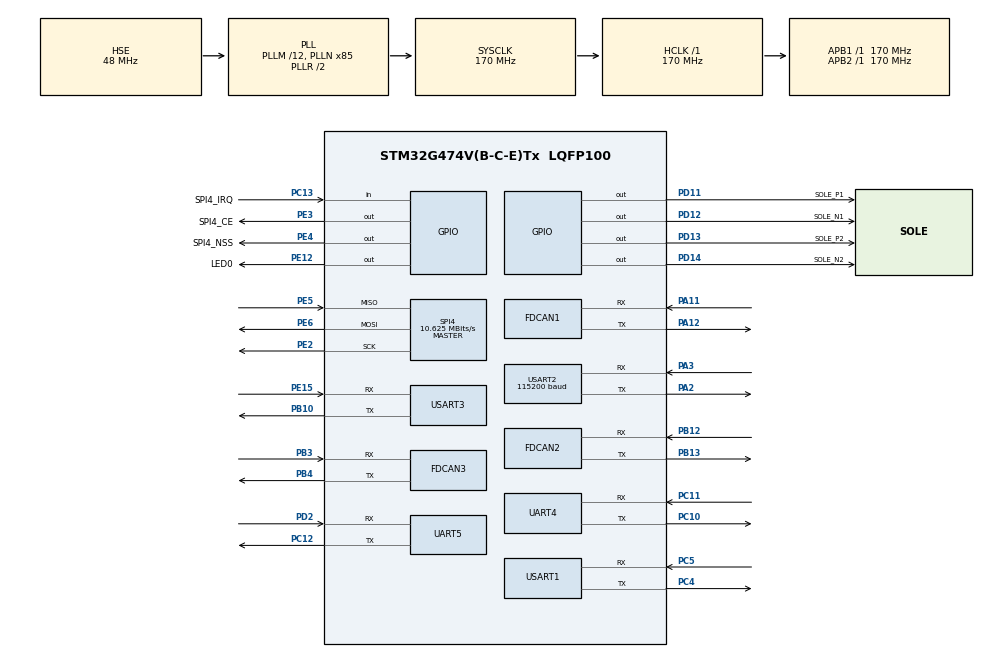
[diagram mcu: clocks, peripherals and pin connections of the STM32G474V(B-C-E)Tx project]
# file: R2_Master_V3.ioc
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Dma.Request0=USART1_RX
Dma.Request1=USART2_RX
Dma.Request2=USART3_RX
Dma.Request3=UART4_RX
Dma.Request4=UART5_RX
Dma.UART4_RX.3.Direction=DMA_PERIPH_TO_MEMORY
Dma.UART4_RX.3.EventEnable=DISABLE
Dma.UART4_RX.3.Instance=DMA1_Channel4
Dma.UART4_RX.3.MemDataAlignment=DMA_MDATAALIGN_BYTE
Dma.UART4_RX.3.MemInc=DMA_MINC_ENABLE
Dma.UART4_RX.3.Mode=DMA_NORMAL
Dma.UART4_RX.3.PeriphDataAlignment=DMA_PDATAALIGN_BYTE
Dma.UART4_RX.3.PeriphInc=DMA_PINC_DISABLE
Dma.UART4_RX.3.Polarity=HAL_DMAMUX_REQ_GEN_RISING
Dma.UART4_RX.3.Priority=DMA_PRIORITY_LOW
Dma.UART4_RX.3.RequestNumber=1
Dma.UART4_RX.3.SignalID=NONE
Dma.UART4_RX.3.SyncEnable=DISABLE
Dma.UART4_RX.3.SyncPolarity=HAL_DMAMUX_SYNC_NO_EVENT
Dma.UART4_RX.3.SyncRequestNumber=1
Dma.UART4_RX.3.SyncSignalID=NONE
Dma.UART5_RX.4.Direction=DMA_PERIPH_TO_MEMORY
Dma.UART5_RX.4.EventEnable=DISABLE
Dma.UART5_RX.4.Instance=DMA1_Channel5
Dma.UART5_RX.4.MemDataAlignment=DMA_MDATAALIGN_BYTE
Dma.UART5_RX.4.MemInc=DMA_MINC_ENABLE
Dma.UART5_RX.4.Mode=DMA_NORMAL
Dma.UART5_RX.4.PeriphDataAlignment=DMA_PDATAALIGN_BYTE
Dma.UART5_RX.4.PeriphInc=DMA_PINC_DISABLE
Dma.UART5_RX.4.Polarity=HAL_DMAMUX_REQ_GEN_RISING
Dma.UART5_RX.4.Priority=DMA_PRIORITY_LOW
Dma.UART5_RX.4.RequestNumber=1
Dma.UART5_RX.4.SignalID=NONE
Dma.UART5_RX.4.SyncEnable=DISABLE
Dma.UART5_RX.4.SyncPolarity=HAL_DMAMUX_SYNC_NO_EVENT
Dma.UART5_RX.4.SyncRequestNumber=1
Dma.UART5_RX.4.SyncSignalID=NONE
Dma.USART1_RX.0.Direction=DMA_PERIPH_TO_MEMORY
Dma.USART1_RX.0.EventEnable=DISABLE
Dma.USART1_RX.0.Instance=DMA1_Channel1
Dma.USART1_RX.0.MemDataAlignment=DMA_MDATAALIGN_BYTE
Dma.USART1_RX.0.MemInc=DMA_MINC_ENABLE
Dma.USART1_RX.0.Mode=DMA_NORMAL
Dma.USART1_RX.0.PeriphDataAlignment=DMA_PDATAALIGN_BYTE
Dma.USART1_RX.0.PeriphInc=DMA_PINC_DISABLE
Dma.USART1_RX.0.Polarity=HAL_DMAMUX_REQ_GEN_RISING
Dma.USART1_RX.0.Priority=DMA_PRIORITY_LOW
Dma.USART1_RX.0.RequestNumber=1
Dma.USART1_RX.0.SignalID=NONE
Dma.USART1_RX.0.SyncEnable=DISABLE
Dma.USART1_RX.0.SyncPolarity=HAL_DMAMUX_SYNC_NO_EVENT
Dma.USART1_RX.0.SyncRequestNumber=1
Dma.USART1_RX.0.SyncSignalID=NONE
Dma.USART2_RX.1.Direction=DMA_PERIPH_TO_MEMORY
Dma.USART2_RX.1.EventEnable=DISABLE
Dma.USART2_RX.1.Instance=DMA1_Channel2
Dma.USART2_RX.1.MemDataAlignment=DMA_MDATAALIGN_BYTE
Dma.USART2_RX.1.MemInc=DMA_MINC_ENABLE
Dma.USART2_RX.1.Mode=DMA_NORMAL
Dma.USART2_RX.1.PeriphDataAlignment=DMA_PDATAALIGN_BYTE
Dma.USART2_RX.1.PeriphInc=DMA_PINC_DISABLE
Dma.USART2_RX.1.Polarity=HAL_DMAMUX_REQ_GEN_RISING
Dma.USART2_RX.1.Priority=DMA_PRIORITY_LOW
Dma.USART2_RX.1.RequestNumber=1
Dma.USART2_RX.1.SignalID=NONE
Dma.USART2_RX.1.SyncEnable=DISABLE
Dma.USART2_RX.1.SyncPolarity=HAL_DMAMUX_SYNC_NO_EVENT
Dma.USART2_RX.1.SyncRequestNumber=1
Dma.USART2_RX.1.SyncSignalID=NONE
Dma.USART3_RX.2.Direction=DMA_PERIPH_TO_MEMORY
Dma.USART3_RX.2.EventEnable=DISABLE
Dma.USART3_RX.2.Instance=DMA1_Channel3
Dma.USART3_RX.2.MemDataAlignment=DMA_MDATAALIGN_BYTE
Dma.USART3_RX.2.MemInc=DMA_MINC_ENABLE
Dma.USART3_RX.2.Mode=DMA_NORMAL
Dma.USART3_RX.2.PeriphDataAlignment=DMA_PDATAALIGN_BYTE
Dma.USART3_RX.2.PeriphInc=DMA_PINC_DISABLE
Dma.USART3_RX.2.Polarity=HAL_DMAMUX_REQ_GEN_RISING
Dma.USART3_RX.2.Priority=DMA_PRIORITY_LOW
Dma.USART3_RX.2.RequestNumber=1
Dma.USART3_RX.2.SignalID=NONE
Dma.USART3_RX.2.SyncEnable=DISABLE
Dma.USART3_RX.2.SyncPolarity=HAL_DMAMUX_SYNC_NO_EVENT
Dma.USART3_RX.2.SyncRequestNumber=1
Dma.USART3_RX.2.SyncSignalID=NONE
FDCAN1.CalculateBaudRateNominal=1000000
FDCAN1.CalculateTimeBitNominal=1000
FDCAN1.CalculateTimeQuantumNominal=100.0
FDCAN1.NominalPrescaler=17
FDCAN1.NominalTimeSeg1=6
FDCAN1.NominalTimeSeg2=3
FDCAN2.CalculateBaudRateNominal=1000000
FDCAN2.CalculateTimeBitNominal=1000
FDCAN2.CalculateTimeQuantumNominal=100.0
FDCAN2.NominalPrescaler=17
FDCAN2.NominalTimeSeg1=6
FDCAN2.NominalTimeSeg2=3
FDCAN3.CalculateBaudRateNominal=1000000
FDCAN3.CalculateTimeBitNominal=1000
FDCAN3.CalculateTimeQuantumNominal=100.0
FDCAN3.NominalPrescaler=17
FDCAN3.NominalTimeSeg1=6
FDCAN3.NominalTimeSeg2=3
FREERTOS.Queues01=NRF_RX_Queue,1,RemoteRXSturct,0,Dynamic,NULL,NULL;SuctionSpeed_Queue,1,int16_t,0,Dynamic,NULL,NULL;VisionData_Queue,1,VisionStruct,0,Dynamic,NULL,NULL
FREERTOS.Tasks01=Debug_Task,0,1024,DebugTask,Default,NULL,Dynamic,NULL,NULL;RoboRun_Task,0,1024,RoboRunTask,Default,NULL,Dynamic,NULL,NULL;NRF_Task,0,256,NRFTask,Default,NULL,Dynamic,NULL,NULL;Control_Task,0,1024,ControlTask,Default,NULL,Dynamic,NULL,NULL;HandleBall_Task,0,1024,HandleBallTask,Default,NULL,Dynamic,NULL,NULL;Suction_Task,0,512,SuctionTask,Default,NULL,Dynamic,NULL,NULL;Run1to3_Task,0,1024,Run1to3Task,Default,NULL,Dynamic,NULL,NULL;Vision_Task,0,1024,VisionTask,Default,NULL,Dynamic,NULL,NULL;VisionRun_Task,0,2048,VisionRunTask,Default,NULL,Dynamic,NULL,NULL;Start_Task,0,1024,StartTask,Default,NULL,Dynamic,NULL,NULL
FREERTOS.configTOTAL_HEAP_SIZE=65536
Mcu.Family=STM32G4
Mcu.Name=STM32G474V(B-C-E)Tx
Mcu.Package=LQFP100
NVIC.DMA1_Channel1_IRQn=true\:5\:0\:false\:false\:true\:true\:false\:true\:true
NVIC.DMA1_Channel2_IRQn=true\:5\:0\:false\:false\:true\:true\:false\:true\:true
NVIC.DMA1_Channel3_IRQn=true\:5\:0\:false\:false\:true\:true\:false\:true\:true
NVIC.DMA1_Channel4_IRQn=true\:5\:0\:false\:false\:true\:true\:false\:true\:true
NVIC.DMA1_Channel5_IRQn=true\:5\:0\:false\:false\:true\:true\:false\:true\:true
NVIC.FDCAN1_IT0_IRQn=true\:5\:0\:false\:false\:true\:true\:true\:true\:true
NVIC.FDCAN2_IT0_IRQn=true\:5\:0\:false\:false\:true\:true\:true\:true\:true
NVIC.FDCAN3_IT0_IRQn=true\:5\:0\:false\:false\:true\:true\:true\:true\:true
NVIC.PriorityGroup=NVIC_PRIORITYGROUP_4
NVIC.SPI4_IRQn=true\:5\:0\:false\:false\:true\:true\:true\:true\:true
NVIC.TIM2_IRQn=true\:5\:0\:false\:false\:true\:true\:true\:true\:true
NVIC.TIM7_DAC_IRQn=true\:15\:0\:false\:false\:true\:false\:false\:true\:true
NVIC.TimeBase=TIM7_DAC_IRQn
NVIC.TimeBaseIP=TIM7
NVIC.UART4_IRQn=true\:5\:0\:false\:false\:true\:true\:true\:true\:true
NVIC.UART5_IRQn=true\:5\:0\:false\:false\:true\:true\:true\:true\:true
NVIC.USART1_IRQn=true\:5\:0\:false\:false\:true\:true\:true\:true\:true
NVIC.USART2_IRQn=true\:5\:0\:false\:false\:true\:true\:true\:true\:true
NVIC.USART3_IRQn=true\:5\:0\:false\:false\:true\:true\:true\:true\:true
PA11.Mode=FDCAN_Activate
PA11.Signal=FDCAN1_RX
PA12.Mode=FDCAN_Activate
PA12.Signal=FDCAN1_TX
PA13.Mode=Serial_Wire
PA13.Signal=SYS_JTMS-SWDIO
PA14.Mode=Serial_Wire
PA14.Signal=SYS_JTCK-SWCLK
PA2.Mode=Asynchronous
PA2.Signal=USART2_TX
PA3.Mode=Asynchronous
PA3.Signal=USART2_RX
PA8.Signal=I2C2_SDA
PA9.Signal=I2C2_SCL
PB10.Mode=Asynchronous
PB10.Signal=USART3_TX
PB12.Mode=FDCAN_Activate
PB12.Signal=FDCAN2_RX
PB13.Mode=FDCAN_Activate
PB13.Signal=FDCAN2_TX
PB3.Mode=FDCAN_Activate
PB3.Signal=FDCAN3_RX
PB4.Mode=FDCAN_Activate
PB4.Signal=FDCAN3_TX
PC10.Mode=Asynchronous
PC10.Signal=UART4_TX
PC11.Mode=Asynchronous
PC11.Signal=UART4_RX
PC12.Mode=Asynchronous
PC12.Signal=UART5_TX
PC13.GPIO_Label=SPI4_IRQ
PC13.Signal=GPIO_Input
PC4.Mode=Asynchronous
PC4.Signal=USART1_TX
PC5.Mode=Asynchronous
PC5.Signal=USART1_RX
PD11.GPIO_Label=SOLE_P1
PD11.GPIO_PuPd=GPIO_PULLDOWN
PD11.GPIO_Speed=GPIO_SPEED_FREQ_LOW
PD11.PinState=GPIO_PIN_RESET
PD11.Signal=GPIO_Output
PD12.GPIO_Label=SOLE_N1
PD12.GPIO_ModeDefaultOutputPP=GPIO_MODE_OUTPUT_PP
PD12.GPIO_PuPd=GPIO_PULLDOWN
PD12.GPIO_Speed=GPIO_SPEED_FREQ_LOW
PD12.PinState=GPIO_PIN_RESET
PD12.Signal=GPIO_Output
PD13.GPIO_Label=SOLE_P2
PD13.GPIO_ModeDefaultOutputPP=GPIO_MODE_OUTPUT_PP
PD13.GPIO_PuPd=GPIO_PULLDOWN
PD13.GPIO_Speed=GPIO_SPEED_FREQ_LOW
PD13.PinState=GPIO_PIN_RESET
PD13.Signal=GPIO_Output
PD14.GPIO_Label=SOLE_N2
PD14.GPIO_ModeDefaultOutputPP=GPIO_MODE_OUTPUT_PP
PD14.GPIO_PuPd=GPIO_PULLDOWN
PD14.GPIO_Speed=GPIO_SPEED_FREQ_LOW
PD14.PinState=GPIO_PIN_RESET
PD14.Signal=GPIO_Output
PD2.Mode=Asynchronous
PD2.Signal=UART5_RX
PE12.GPIO_Label=LED0
PE12.GPIO_PuPd=GPIO_PULLUP
PE12.Signal=GPIO_Output
PE15.Mode=Asynchronous
PE15.Signal=USART3_RX
PE2.Mode=Full_Duplex_Master
PE2.Signal=SPI4_SCK
PE3.GPIO_Label=SPI4_CE
PE3.GPIO_Speed=GPIO_SPEED_FREQ_VERY_HIGH
PE3.Signal=GPIO_Output
PE4.GPIO_Label=SPI4_NSS
PE4.GPIO_Speed=GPIO_SPEED_FREQ_VERY_HIGH
PE4.Signal=GPIO_Output
PE5.Mode=Full_Duplex_Master
PE5.Signal=SPI4_MISO
PE6.Mode=Full_Duplex_Master
PE6.Signal=SPI4_MOSI
PF0-OSC_IN.Mode=HSE-External-Oscillator
PF0-OSC_IN.Signal=RCC_OSC_IN
PF1-OSC_OUT.Mode=HSE-External-Oscillator
PF1-OSC_OUT.Signal=RCC_OSC_OUT
ProjectManager.HeapSize=0x200
ProjectManager.StackSize=0x400
ProjectManager.TargetToolchain=STM32CubeIDE
RCC.ADC12Freq_Value=170000000
RCC.ADC345Freq_Value=170000000
RCC.AHBFreq_Value=170000000
RCC.APB1Freq_Value=170000000
RCC.APB1TimFreq_Value=170000000
RCC.APB2Freq_Value=170000000
RCC.APB2TimFreq_Value=170000000
RCC.CortexFreq_Value=170000000
RCC.EXTERNAL_CLOCK_VALUE=12288000
RCC.HCLKFreq_Value=170000000
RCC.HSE_VALUE=48000000
RCC.HSI48_VALUE=48000000
RCC.HSI_VALUE=16000000
RCC.LSE_VALUE=32768
RCC.PLLM=RCC_PLLM_DIV12
RCC.PLLN=85
RCC.PLLSourceVirtual=RCC_PLLSOURCE_HSE
RCC.SYSCLKFreq_VALUE=170000000
RCC.SYSCLKSource=RCC_SYSCLKSOURCE_PLLCLK
RCC.USBFreq_Value=170000000
RCC.VCOOutputFreq_Value=340000000
SPI4.BaudRatePrescaler=SPI_BAUDRATEPRESCALER_16
SPI4.CalculateBaudRate=10.625 MBits/s
SPI4.DataSize=SPI_DATASIZE_8BIT
SPI4.Direction=SPI_DIRECTION_2LINES
SPI4.Mode=SPI_MODE_MASTER
SPI4.VirtualType=VM_MASTER
STMicroelectronics.X-CUBE-ALGOBUILD.1.3.0.LibraryCcDSPOoLibraryJjDSPOoLibrary=true
TIM2.PeriodNoDither=10000
TIM2.Prescaler=170
USART1.VirtualMode-Asynchronous=VM_ASYNC
USART2.BaudRate=115200
USART2.VirtualMode-Asynchronous=VM_ASYNC
USART3.VirtualMode-Asynchronous=VM_ASYNC
VP_FREERTOS_VS_CMSIS_V1.Mode=CMSIS_V1
VP_STMicroelectronics.X-CUBE-ALGOBUILD_VS_DSPOoLibraryJjLibrary_1.3.0_1.3.0.Mode=DSPOoLibraryJjLibrary
VP_SYS_VS_DBSignals.Mode=DisableDeadBatterySignals
VP_SYS_VS_tim7.Mode=TIM7
VP_TIM2_VS_ClockSourceINT.Mode=Internal
board=custom

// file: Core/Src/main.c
/* USER CODE BEGIN Header */
/**
  ******************************************************************************
  * @file           : main.c
  * @brief          : Main program body
  ******************************************************************************
  * @attention
  *
  * Copyright (c) 2024 STMicroelectronics.
  * All rights reserved.
  *
  * This software is licensed under terms that can be found in the LICENSE file
  * in the root directory of this software component.
  * If no LICENSE file comes with this software, it is provided AS-IS.
  *
  ******************************************************************************
  */
/* USER CODE END Header */
#include "main.h"
#include "cmsis_os.h"
#include "dma.h"
#include "fdcan.h"
#include "spi.h"
#include "tim.h"
#include "usart.h"
#include "gpio.h"

/* USER CODE BEGIN PV */
int16_t Wheels_VelOut[4];//PID计算存储中间变量
uint8_t Control_Mode;
uint8_t State,Store_Flag;
float Left_TargetSpe,Right_TargetSpe,Slope_Pos,Toggle_Pos;
/* USER CODE END PV */

void SystemClock_Config(void);
void MX_FREERTOS_Init(void);

int main(void)
{

  /* MCU Configuration--------------------------------------------------------*/

  /* Reset of all peripherals, Initializes the Flash interface and the Systick. */
  HAL_Init();

  /* Configure the system clock */
  SystemClock_Config();

  /* Initialize all configured peripherals */
  MX_GPIO_Init();
  MX_DMA_Init();
  MX_FDCAN1_Init();
  MX_FDCAN2_Init();
  MX_FDCAN3_Init();
  MX_SPI4_Init();
  MX_USART1_UART_Init();
  MX_USART2_UART_Init();
  MX_USART3_UART_Init();
  MX_UART4_Init();
  MX_UART5_Init();
  MX_TIM2_Init();
  /* USER CODE BEGIN 2 */
    /** 打开串口1中断和DMA **/
    __HAL_UART_ENABLE_IT(&huart1,UART_IT_IDLE);
    HAL_UART_Receive_DMA(&huart1,USART1_Buffer,256);
    /** 打开串口1中断和DMA **/
    __HAL_UART_ENABLE_IT(&huart2,UART_IT_IDLE);
    HAL_UART_Receive_DMA(&huart2,USART2_Buffer,50);
    /** 打开串口1中断和DMA **/
    __HAL_UART_ENABLE_IT(&huart3,UART_IT_IDLE);
    HAL_UART_Receive_DMA(&huart3,USART3_Buffer,30);
    /** 打开串口1中断和DMA **/
    __HAL_UART_ENABLE_IT(&huart4,UART_IT_IDLE);
    HAL_UART_Receive_DMA(&huart4,USART4_Buffer,256);
    /** 打开串口1中断和DMA **/
    __HAL_UART_ENABLE_IT(&huart5,UART_IT_IDLE);
    HAL_UART_Receive_DMA(&huart5,USART5_Buffer,256);
    /** 初始化Printf函数 **/
    RetargetInit(&huart1);
    /** 初始化定时器中断 **/
    HAL_TIM_Base_Start_IT(&htim2);
  /* USER CODE END 2 */

  /* Call init function for freertos objects (in cmsis_os2.c) */
  MX_FREERTOS_Init();

  /* Start scheduler */
  osKernelStart();

  /* We should never get here as control is now taken by the scheduler */

  /* Infinite loop */
  while (1)
  {

  }
}

void SystemClock_Config(void)
{
  RCC_OscInitTypeDef RCC_OscInitStruct = {0};
  RCC_ClkInitTypeDef RCC_ClkInitStruct = {0};

  /** Configure the main internal regulator output voltage
  */
  HAL_PWREx_ControlVoltageScaling(PWR_REGULATOR_VOLTAGE_SCALE1_BOOST);

  /** Initializes the RCC Oscillators according to the specified parameters
  * in the RCC_OscInitTypeDef structure.
  */
  RCC_OscInitStruct.OscillatorType = RCC_OSCILLATORTYPE_HSE;
  RCC_OscInitStruct.HSEState = RCC_HSE_ON;
  RCC_OscInitStruct.PLL.PLLState = RCC_PLL_ON;
  RCC_OscInitStruct.PLL.PLLSource = RCC_PLLSOURCE_HSE;
  RCC_OscInitStruct.PLL.PLLM = RCC_PLLM_DIV12;
  RCC_OscInitStruct.PLL.PLLN = 85;
  RCC_OscInitStruct.PLL.PLLP = RCC_PLLP_DIV2;
  RCC_OscInitStruct.PLL.PLLQ = RCC_PLLQ_DIV2;
  RCC_OscInitStruct.PLL.PLLR = RCC_PLLR_DIV2;
  if (HAL_RCC_OscConfig(&RCC_OscInitStruct) != HAL_OK)
  {
    Error_Handler();
  }

  /** Initializes the CPU, AHB and APB buses clocks
  */
  RCC_ClkInitStruct.ClockType = RCC_CLOCKTYPE_HCLK|RCC_CLOCKTYPE_SYSCLK
                              |RCC_CLOCKTYPE_PCLK1|RCC_CLOCKTYPE_PCLK2;
  RCC_ClkInitStruct.SYSCLKSource = RCC_SYSCLKSOURCE_PLLCLK;
  RCC_ClkInitStruct.AHBCLKDivider = RCC_SYSCLK_DIV1;
  RCC_ClkInitStruct.APB1CLKDivider = RCC_HCLK_DIV1;
  RCC_ClkInitStruct.APB2CLKDivider = RCC_HCLK_DIV1;

  if (HAL_RCC_ClockConfig(&RCC_ClkInitStruct, FLASH_LATENCY_4) != HAL_OK)
  {
    Error_Handler();
  }
}

void HAL_TIM_PeriodElapsedCallback(TIM_HandleTypeDef *htim)
{
  /* USER CODE BEGIN Callback 0 */
//  if (htim->Instance == TIM2 ) {
//      /** 实际�???????? **/
//      Wheels_VelOut[0] = (int16_t)PID_Realise(&Wheels[0], -Wheels_vel[0], DjiMotor_Info[0].speed, M3508_CURRENT_MAX, 5);
//      Wheels_VelOut[1] = (int16_t)PID_Realise(&Wheels[1], -Wheels_vel[1], DjiMotor_Info[1].speed, M3508_CURRENT_MAX, 5);
//      Wheels_VelOut[2] = (int16_t)PID_Realise(&Wheels[2], -Wheels_vel[2], DjiMotor_Info[2].speed, M3508_CURRENT_MAX, 5);
//      Wheels_VelOut[3] = (int16_t)PID_Realise(&Wheels[3], -Wheels_vel[3], DjiMotor_Info[3].speed, M3508_CURRENT_MAX, 5);
//      /** 调试�???????? **/
////      Wheels_VelOut[0] = PID_Process(&Wheels[0],Wheels[0].target,Motor_Info[0].speed,M3508_CURRENT_MAX,5);
////      Wheels_VelOut[1] = PID_Process(&Wheels[1],Wheels[1].target,Motor_Info[1].speed,M3508_CURRENT_MAX,5);
////      Wheels_VelOut[2] = PID_Process(&Wheels[2],Wheels[2].target,Motor_Info[2].speed,M3508_CURRENT_MAX,5);
////      Wheels_VelOut[3] = PID_Process(&Wheels[3],Wheels[3].target,Motor_Info[3].speed,M3508_CURRENT_MAX,5);
//
//      Set_Current(&hfdcan1,0x200,Wheels_VelOut[0],Wheels_VelOut[1],Wheels_VelOut[2],Wheels_VelOut[3]);
//  }
  /* USER CODE END Callback 0 */
  if (htim->Instance == TIM7) {
    HAL_IncTick();
  }
  /* USER CODE BEGIN Callback 1 */
//
  /* USER CODE END Callback 1 */
}

void Error_Handler(void)
{
  __disable_irq();
  while (1)
  {
  }
}

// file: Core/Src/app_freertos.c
/* USER CODE BEGIN Header */
/**
  ******************************************************************************
  * File Name          : app_freertos.c
  * Description        : Code for freertos applications
  ******************************************************************************
  * @attention
  *
  * Copyright (c) 2024 STMicroelectronics.
  * All rights reserved.
  *
  * This software is licensed under terms that can be found in the LICENSE file
  * in the root directory of this software component.
  * If no LICENSE file comes with this software, it is provided AS-IS.
  *
  ******************************************************************************
  */
/* USER CODE END Header */

#include "FreeRTOS.h"
#include "task.h"
#include "main.h"
#include "cmsis_os.h"

/* USER CODE BEGIN Includes */
#include "fdcan.h"
#include "gpio.h"
/* USER CODE END Includes */

/* USER CODE BEGIN Variables */
uint8_t str_flag;
/* USER CODE END Variables */
osThreadId Debug_TaskHandle;
osThreadId RoboRun_TaskHandle;
osThreadId NRF_TaskHandle;
osThreadId Control_TaskHandle;
osThreadId HandleBall_TaskHandle;
osThreadId Suction_TaskHandle;
osThreadId Run1to3_TaskHandle;
osThreadId Vision_TaskHandle;
osThreadId VisionRun_TaskHandle;
osThreadId Start_TaskHandle;
osMessageQId NRF_RX_QueueHandle;
osMessageQId SuctionSpeed_QueueHandle;
osMessageQId VisionData_QueueHandle;

void DebugTask(void const * argument);
void RoboRunTask(void const * argument);
void NRFTask(void const * argument);
void ControlTask(void const * argument);
void HandleBallTask(void const * argument);
void SuctionTask(void const * argument);
void Run1to3Task(void const * argument);
void VisionTask(void const * argument);
void VisionRunTask(void const * argument);
void StartTask(void const * argument);

void MX_FREERTOS_Init(void); /* (MISRA C 2004 rule 8.1) */

void MX_FREERTOS_Init(void) {

  /* Create the queue(s) */
  /* definition and creation of NRF_RX_Queue */
  osMessageQDef(NRF_RX_Queue, 1, RemoteRXSturct);
  NRF_RX_QueueHandle = osMessageCreate(osMessageQ(NRF_RX_Queue), NULL);

  /* definition and creation of SuctionSpeed_Queue */
  osMessageQDef(SuctionSpeed_Queue, 1, int16_t);
  SuctionSpeed_QueueHandle = osMessageCreate(osMessageQ(SuctionSpeed_Queue), NULL);

  /* definition and creation of VisionData_Queue */
  osMessageQDef(VisionData_Queue, 1, VisionStruct);
  VisionData_QueueHandle = osMessageCreate(osMessageQ(VisionData_Queue), NULL);

  /* Create the thread(s) */
  /* definition and creation of Debug_Task */
  osThreadDef(Debug_Task, DebugTask, osPriorityNormal, 0, 1024);
  Debug_TaskHandle = osThreadCreate(osThread(Debug_Task), NULL);

  /* definition and creation of RoboRun_Task */
  osThreadDef(RoboRun_Task, RoboRunTask, osPriorityNormal, 0, 1024);
  RoboRun_TaskHandle = osThreadCreate(osThread(RoboRun_Task), NULL);

  /* definition and creation of NRF_Task */
  osThreadDef(NRF_Task, NRFTask, osPriorityNormal, 0, 256);
  NRF_TaskHandle = osThreadCreate(osThread(NRF_Task), NULL);

  /* definition and creation of Control_Task */
  osThreadDef(Control_Task, ControlTask, osPriorityNormal, 0, 1024);
  Control_TaskHandle = osThreadCreate(osThread(Control_Task), NULL);

  /* definition and creation of HandleBall_Task */
  osThreadDef(HandleBall_Task, HandleBallTask, osPriorityNormal, 0, 1024);
  HandleBall_TaskHandle = osThreadCreate(osThread(HandleBall_Task), NULL);

  /* definition and creation of Suction_Task */
  osThreadDef(Suction_Task, SuctionTask, osPriorityNormal, 0, 512);
  Suction_TaskHandle = osThreadCreate(osThread(Suction_Task), NULL);

  /* definition and creation of Run1to3_Task */
  osThreadDef(Run1to3_Task, Run1to3Task, osPriorityNormal, 0, 1024);
  Run1to3_TaskHandle = osThreadCreate(osThread(Run1to3_Task), NULL);

  /* definition and creation of Vision_Task */
  osThreadDef(Vision_Task, VisionTask, osPriorityNormal, 0, 1024);
  Vision_TaskHandle = osThreadCreate(osThread(Vision_Task), NULL);

  /* definition and creation of VisionRun_Task */
  osThreadDef(VisionRun_Task, VisionRunTask, osPriorityNormal, 0, 2048);
  VisionRun_TaskHandle = osThreadCreate(osThread(VisionRun_Task), NULL);

  /* definition and creation of Start_Task */
  osThreadDef(Start_Task, StartTask, osPriorityNormal, 0, 1024);
  Start_TaskHandle = osThreadCreate(osThread(Start_Task), NULL);

  /* USER CODE BEGIN RTOS_THREADS */
  /* add threads, ... */
  vTaskSuspend(RoboRun_TaskHandle);
//  vTaskSuspend(Vision_TaskHandle);
  vTaskSuspend(VisionRun_TaskHandle);
  vTaskSuspend(Start_TaskHandle);
//  vTaskSuspend(NRF_TaskHandle);
//  vTaskSuspend(Control_TaskHandle);
//  vTaskSuspend(HandleBall_TaskHandle);
//  vTaskSuspend(Suction_TaskHandle);
  vTaskSuspend(Run1to3_TaskHandle);
  /* USER CODE END RTOS_THREADS */

}

/* USER CODE BEGIN Header_DebugTask */
/**
  * @brief  此任务用于一些参数和外设的初始化以及使用串口和LED调试
  * @param  argument: Not used
  * @retval None
  */
/* USER CODE END Header_DebugTask */
void DebugTask(void const * argument)
{
  /* USER CODE BEGIN DebugTask */
  /** 等待NRF校准 **/
  while (NRF24L01_Check())
  {
      printf("no\n");
  }
  NRF24L01_RX_Mode();
  PID_Set(&Wheels[0],7.2f,0.1f,1.0f,10000);
  PID_Set(&Wheels[1],7.2f,0.1f,1.0f,10000);
  PID_Set(&Wheels[2],7.2f,0.1f,1.0f,10000);
  PID_Set(&Wheels[3],7.2f,0.1f,1.0f,10000);

  PID_Set(&Slope_Speed_t,7.2f,0.15f,2.2f,10000);
  PID_Set(&Slope_Position_t,1.85f,0,0.8f,0);
  PID_Set(&Toggle_Speed_t,7.2f,0.5f,2.0f,10000);
  PID_Set(&Toggle_Position_t,0.8f,0,0.8f,0);

  PID_Set(&Left_Speed_t,3,0.14f,2.2f,10000);
  PID_Set(&Right_Speed_t,3,0.14f,2.2f,10000);

  PID_Set(&Translation_PID,1.35f,0.0f,0.3f,0.0f);
  PID_Set(&Turn_PID,0.035f,0.0f,0.2f,0.0f);

  PID_Set(&VisionRun2,1.35f,0.0f,0.3f,0.0f);

  PID_Set(&VisionPID_X,0.0020f,0.0f,0.0f,0.0f);
  /* Infinite loop */
  for(;;)
  {
    LED0_Flashing;
//    printf("X:%f,Y:%f,Angle:%f\n",LiDar.locx,LiDar.locy,LiDar.yaw);
    osDelay(100);
  }
  /* USER CODE END DebugTask */
}

/* USER CODE BEGIN Header_RoboRunTask */
/**
* @brief 此任务用于R2跑点或�?�遥�?????????????
* @param argument: Not used
* @retval None
*/
/* USER CODE END Header_RoboRunTask */
void RoboRunTask(void const * argument)
{
//  /* USER CODE BEGIN RoboRunTask */
//    RemoteRXSturct NRFRX_Data;
//  /* Infinite loop */
//  for(;;)
//  {
//    if(Control_Mode == AutoRun_Mode)//跑点模式
//    {
//        if( Distance_Calc(Aim_Points[AimPoints_Index],LiDar.locx,LiDar.locy) < 0.02f && fabsf(LiDar.yaw - Aim_Points[AimPoints_Index].angle) < 0.5f )
//        {
//            cnt = 0;
//            Car_Stop;
//            AimPoints_Index ++;
//            if(State == Run2Store_State) //从绿区到黄区的跑点，用于去放球，到点后切换状态为Store_State
//            {
//                State = Store_State;
//                vTaskSuspend(RoboRun_TaskHandle);
//            }
//            else
//            {
//                vTaskSuspend(RoboRun_TaskHandle);
//            }
//        }
//        else
//        {
//            Chassis_Move(&Aim_Points[AimPoints_Index]);
//        }
//    }
//    else//遥控模式
//    {
//        if( xQueueReceive(NRF_RX_QueueHandle, &NRFRX_Data, 0) == pdTRUE )//读取队列中NRF传来的数据，从NRF任务中写
//        {
//            SGW2Wheels((float)NRFRX_Data.rx * 3 / 128,(float)NRFRX_Data.ry * 3 / 128,(float)NRFRX_Data.lx * 3 / 128,0);
//        }
//    }
//    osDelay(5);
//  }
//  /* USER CODE END RoboRunTask */
}

/* USER CODE BEGIN Header_NRFTask */
/**
* @brief 此函数用于接收遥控器的数�??
* @param argument: Not used
* @retval None
*/
/* USER CODE END Header_NRFTask */
void NRFTask(void const * argument)
{
  /* USER CODE BEGIN NRFTask */
    /** 定义存储数据变量 **/
    static uint8_t rc_data[RX_PLOAD_WIDTH] = {0};//接收数组缓冲
    static RemoteRXSturct RemoteRX;//用于存遥控器传来的数
    uint8_t cmd;
    /* Infinite loop */
  for(;;)
  {
      if (NRF24L01_RxPacket(rc_data) == 0)  //接收遥控器数据，若收到返0，若没收到返1
      {
          /** 读取左右摇杆值，限制�??-128~128 **/
          RemoteRX.lx = (int16_t)-(rc_data[1] - 128);
          RemoteRX.ly = (int16_t)-(rc_data[2] - 128);
          RemoteRX.rx = (int16_t)-(rc_data[3] - 128);
          RemoteRX.ry = (int16_t)-(rc_data[4] - 128);
          /** 接收遥控器按键命 **/
          RemoteRX.command = rc_data[5];
          /** 设置摇杆值的死区 **/
          if (abs(RemoteRX.rx) < 2) RemoteRX.rx = 0;
          if (abs(RemoteRX.ry) < 2) RemoteRX.ry = 0;
          if (abs(RemoteRX.lx) < 2) RemoteRX.lx = 0;
          if (abs(RemoteRX.ly) < 2) RemoteRX.ly = 0;
          /** 对遥控器进行滤波，原因是遥控器有莫名其妙的电平跳 **/
          if (RemoteRX.rx == -5) RemoteRX.rx = 0;
          if (RemoteRX.ry == -4) RemoteRX.ry = 0;
          if (RemoteRX.lx == -4) RemoteRX.lx = 0;
          if (RemoteRX.ly == -4) RemoteRX.ly = 0;

          xQueueOverwrite(NRF_RX_QueueHandle, &RemoteRX);/** 把遥控器的数据放入队列，用于遥控 **/

          /** 对遥控器按键命令进行响应 **/
          switch (RemoteRX.command) {
              case Left_Up_Up://切换成手动模�??
                  Control_Mode = Manual_Mode;
                  vTaskResume(RoboRun_TaskHandle);
                  break;
              case Left_Up://�??键启�??
                  SUCTION_ON;  /** 伸出吸球机构 **/
                  Toggle_Pos = Toggle_Mid; /** 夹爪翻到中位 **/
                  osDelay(500);     /** 避免夹爪提前打开 **/
                  CLAW_OFF;                /** 打开夹爪 **/
                  vTaskResume(Start_TaskHandle);
                  vTaskSuspend(NRF_TaskHandle);
                  break;
              case Right_Up:
                  cmd = 0x01;
                  HAL_UART_Transmit(&huart2,&cmd, sizeof(cmd),0xfffff);
                  break;
              case Right_Down:
                  OpenSuction();
                  break;
              case Right_Right:
                  CloseSuction();
                  break;
              default:
                  break;
          }
//          printf("%d,%d\n",RemoteRX.command,RemoteRX.ly);/** 用于调试遥控器按 **/
          RemoteRX.command = 0; //重置命令
      }
    osDelay(10);
  }
  /* USER CODE END NRFTask */
}

/* USER CODE BEGIN Header_ControlTask */
/**
* @brief 此任务用于运动状态的判断切换跑点模式或视觉追踪模�????
* @param argument: Not used
* @retval None
*/
/* USER CODE END Header_ControlTask */
void ControlTask(void const * argument)
{
//  /* USER CODE BEGIN ControlTask */
//  uint8_t vision_cmd = 0;
//  /* Infinite loop */
//  for(;;)
//  {
//      /** 对当前状态做出反�?? **/
//        switch (State) {
//            case Default_State:
//                break;
//            case Run2Get_State:
//                Set_Point(&Vision_Points[0],-1.43f,1.49f,90,0);
//                vision_cmd = 0x02;
//                HAL_UART_Transmit(&huart2,&vision_cmd, sizeof(vision_cmd),0xfffff);
//                vTaskResume(VisionRun_TaskHandle);
//                vTaskResume(Vision_TaskHandle);
//                while (State == Run2Get_State){ osDelay(1);}
//                break;
//            case Run2Store_State:
////                if (Store_Flag == 1)
////                {
////                    vTaskResume(RoboRun_TaskHandle);
////                }
////                cnt = 0;
////                Set_Point(&Aim_Points[AimPoints_Index],0.30f,1.45f,90,0);
////                vTaskSuspend(Vision_TaskHandle);
////                vTaskResume(RoboRun_TaskHandle);
////                while (State == Run2Store_State){ osDelay(1);}
//                break;
//            case TakeRightBall_State:/** 取正确的�???? **/
//                osDelay(500);
//                CLAW_ON;//关闭夹爪
//                cnt = 0;
//                Set_Point(&Aim_Points[AimPoints_Index],0.30f,1.45f,90,0);
//                vTaskSuspend(Vision_TaskHandle);
//                vTaskResume(RoboRun_TaskHandle);
//                CloseSuction();
//                State = Run2Store_State;//状�?�切换为Run2Store_State
//                Toggle_Pos = Toggle_Up;//夹爪翻上
//                osDelay(500);
//                SUCTION_OFF;//吸球机构推回
//                while (State == Run2Store_State){ osDelay(1);}
//                break;
//            case Store_State://放球
//                CLAW_OFF;//打开夹爪
//                osDelay(1000);//等待球滚出去
//                State = Run2Get_State;//状�?�切换为Run2Get_State
//                Toggle_Pos = Toggle_Mid;//夹爪回中�????
//                SUCTION_ON;//吸球机构推出
//                break;
//            default:
//                break;
//        }
//    osDelay(10);
//  }
//  /* USER CODE END ControlTask */
}

/* USER CODE BEGIN Header_HandleBallTask */
/**
* @brief 此任务用于控制电机实现左右拨球或者夹�?????????????/放球，控�?????????????3�?????????????2006和一�?????????????3508电机、两个气�?????????????
* @param argument: Not used
* @retval None
*/
/* USER CODE END Header_HandleBallTask */
void HandleBallTask(void const * argument)
{
  /* USER CODE BEGIN HandleBallTask */
  int16_t Left_Speed,Slope_Speed,Toggle_Speed;
  float Slope_Temp,Toggle_Temp;
  /* Infinite loop */
  for(;;)
  {
//    Left_Speed = (int16_t)PID_Realise(&Left_Speed_t, Left_TargetSpe, DjiMotor_Info[5].speed, M2006_CURRENT_MAX, 5);
//
//    Slope_Temp = PID_Realise(&Slope_Position_t, Slope_Pos, DjiMotor_Info[6].actual_total_angle, 2000, 10.0f);
//    Slope_Speed = (int16_t)PID_Realise(&Slope_Speed_t, Slope_Temp, DjiMotor_Info[6].speed, M2006_CURRENT_MAX, 5);
//
//    Toggle_Temp = PID_Realise(&Toggle_Position_t, Toggle_Pos, DjiMotor_Info[7].actual_total_angle, 1000, 5.0f);
//    Toggle_Speed = (int16_t)PID_Realise(&Toggle_Speed_t, Toggle_Temp, DjiMotor_Info[7].speed, M3508_CURRENT_MAX, 5);
//
//    Set_Current(&hfdcan2,0x1FF,0,Left_Speed,Slope_Speed,Toggle_Speed);
//    osDelay(10);
  }

  /* USER CODE END HandleBallTask */
}

/* USER CODE BEGIN Header_SuctionTask */
/**
* @bri
 * ef 此任务用于吸球，控制VESC电调驱动�?????????????�?????????????5065电机
* @param argument: Not used
* @retval None
*/
/* USER CODE END Header_SuctionTask */
void SuctionTask(void const * argument)
{
  /* USER CODE BEGIN SuctionTask */
  int16_t suctionSpeed = 0;//VESC速度
  /* Infinite loop */
  for(;;)
  {
      if(xQueuePeek(SuctionSpeed_QueueHandle,&suctionSpeed,0) == pdTRUE)
      {
          Vesc_SetSpeed(&hfdcan1,VESC_ID,suctionSpeed);
      }
      osDelay(5);
  }
  /* USER CODE END SuctionTask */
}

/* USER CODE BEGIN Header_Run1to3Task */
/**
* @brief 此任务用于比赛开始时R2�???1区跑�???3�???
* @param argument: Not used
* @retval None
*/
/* USER CODE END Header_Run1to3Task */
void Run1to3Task(void const * argument)
{
//  /* USER CODE BEGIN Run1to3Task */
//  uint8_t index = 0;
//  /* Infinite loop */
//  for(;;)
//  {
//      if( Distance_Calc(Run1to3_Points[index],LiDar.locx,LiDar.locy) < 0.10f && fabsf(LiDar.yaw - Run1to3_Points[index].angle) < 0.5f )
//      {
//          index++;
//          if(index == 5)
//          {
//              vTaskSuspend(Run1to3_TaskHandle);
//          }
//      }
//      else
//      {
//          Chassis_Move(&Run1to3_Points[index]);
//      }
//    osDelay(5);
//  }
//  /* USER CODE END Run1to3Task */
}

void VisionTask(void const * argument)
{
//  /* USER CODE BEGIN VisionTask */
//  float Speed_x,omega;
//  VisionStruct visiondata;
//  static uint8_t last_state;
//  /* Infinite loop */
//  for(;;)
//  {
//      if( xQueueReceive(VisionData_QueueHandle,&visiondata,0) == pdTRUE )
//      {
//          if (visiondata.flag == 1)//在黄区找到球�?
//          {
//              printf("1,1\n");
//              cnt = 0;
//              State = Run2Get_State2;
//              Set_Point(&Vision_Points[0], -visiondata.vision_y / 1000.0f + LiDar.locx,visiondata.vision_x / 1000.0f + LiDar.locy, 90, 0);
//              vTaskResume(VisionRun_TaskHandle);
//              vTaskSuspend(Vision_TaskHandle);
//          }
//          else if (visiondata.flag == 2)
//          {
//              switch ((int16_t) (visiondata.vision_y)) {
//                  case 1:/** 看到蓝色球了，平台回正，把夹爪放下去 **/
//                      printf("2,1\n");
//                      OpenSuction();
//                      Toggle_Pos = Toggle_Down;/** 夹爪放下来，平台回正 **/
//                      Slope_Pos = 0;
//                      osDelay(100);/** 前进�?段时间后停车 **/
//                      Car_Stop;
//                      break;
//                  case 2:/** 快进来的是无效球，停车等待球吐出�? **/
//                      printf("2,2\n");
//                      OpenSuction();
//                      Toggle_Pos = Toggle_Mid;/** 爪子回中�? **/
//                      osDelay(100);/** 前进�?段时间后停车 **/
//                      Car_Stop;
//                      break;
//                  case 0:/** 跟踪�? **/
//                      printf("2,0\n");
//                      OpenSuction();
//                      if (Vision_State != Vision_Delay) {
//                          if (str_flag == 1)/** 对球完毕 **/
//                          {
//                              Speed_x = -PID_Process(&VisionPID_X, 0, Vision_Data.vision_x, 1.0f, 3);
//                              omega = PID_Process(&Turn_PID, 90, LiDar.yaw, 0.5f, 0.5f);
//                              SGW2Wheels(Speed_x, 0.5f, omega, 0);
//                          } else/** 还没对好 **/
//                          {
//                              Speed_x = -PID_Process(&VisionPID_X, 0, Vision_Data.vision_x, 1.0f, 3);
//                              omega = PID_Process(&Turn_PID, 90, LiDar.yaw, 0.5f, 0.5f);
//                              SGW2Wheels(Speed_x, 0, omega, 0);
//                              if (fabsf(Vision_Data.vision_x) < 8.0f) {
//                                  str_flag = 1;
//                              }
//                          }
//                      }
//                      break;
//                  default:
//                      break;
//              }
//          }
//          else if (visiondata.flag == 3)
//          {
//              switch ((int16_t) (visiondata.vision_y)) {
//                  case 6:/** 进来的是有效球，进入TakeRightBall_State **/
//                      printf("3,6\n");
//                      str_flag = 0;
//                      State = TakeRightBall_State;
//                      vTaskSuspend(Vision_TaskHandle);
//                      break;
//                  case 7:/** 车内没球 **/
//                      if (Vision_State == Vision_Delay) {
//                          OpenSuction();
//                          Vision_State = 0;
//                      }
//                      break;
//                  case 2:/** 紫球还在里面 **/
//                      printf("3,2\n");
//                      str_flag = 0;
//                      Vision_State = Vision_Delay;
//                      CloseSuction();
//                      Car_Stop;
//                      Toggle_Pos = Toggle_Mid;
//                      break;
//                  case 3:/** 视野里没有球，向后�?? **/
//                      printf("3,3\n");
//                      Vision_State = Vision_FindBall;
//                      State = Run2Get_State2;
//                      Set_Point(&Vision_Points[0], -1.43f, 1.49f, 90, 0);
//                      vTaskResume(VisionRun_TaskHandle);
//                      break;
//                  default:
//                      break;
//              }
//          }
//          visiondata.flag = 0;
//      }
//    osDelay(5);
//  }
//  /* USER CODE END VisionTask */
}

/* USER CODE BEGIN Header_VisionRunTask */
/**
* @brief 该任务是视觉跑点，由于对精度要求不高且�?�度要求高，�???以单�???�???个任�???
* @param argument: Not used
* @retval None
*/
/* USER CODE END Header_VisionRunTask */
void VisionRunTask(void const * argument)
{
//  /* USER CODE BEGIN VisionRunTask */
//  uint8_t vision_cmd=0;
//  /* Infinite loop */
//  for(;;)
//  {
//    if( Distance_Calc(Vision_Points[0],LiDar.locx,LiDar.locy) < 0.1f && fabsf(LiDar.yaw - Vision_Points[0].angle) < 1.0f )
//    {
//        cnt = 0;
//        Car_Stop;
//        if( (Vision_State == Vision_FindBall) || (State == Run2Get_State) || State == (Run2Get_State2)) /** 从黄区到绿区的跑点，用于去找球，到点后启�?5065，开启视觉任�? **/
//        {
//            Slope_Pos = Slope_Left;//平台倾斜
//            Left_TargetSpe = Left_Spe;//2006旋转
//            OpenSuction();
//            vTaskResume(Vision_TaskHandle);
//
//            if(State != Run2Get_State)
//            {
//                vision_cmd = 0x02;
//                HAL_UART_Transmit(&huart2,&vision_cmd, sizeof(vision_cmd),0xFFFFF);
//                printf("send:%d\n",vision_cmd);
//            }
//
//            State = 0;
//            Vision_State = 0;
//
//            printf("VS:%d,State:%d\n",Vision_State,State);
//            vTaskSuspend(VisionRun_TaskHandle);
//        }
//    }
//    else
//    {
////        printf("%f,x:%f,y:%f,%f\n",Distance_Calc(Vision_Points[0],LiDar.locx,LiDar.locy),LiDar.locx,LiDar.locy,LiDar.yaw);
//        Chassis_Move_OfVision(&Vision_Points[0]);
//    }
//    osDelay(5);
//  }
//  /* USER CODE END VisionRunTask */
}

void StartTask(void const * argument)
{
//  /* USER CODE BEGIN StartTask */
//  uint8_t index = 0,vision_cmd = 0;
//  PointStruct Start_Points[2] = {
//          {.x = -2.94f,.y = 1.43f,.angle = 90.0f,.num = 0},
//          {.x = -4.10f,.y = 1.43f,.angle = 90.0f,.num = 0}
//  };
//  /* Infinite loop */
//  for(;;)
//  {
//        if( Distance_Calc(Start_Points[index],LiDar.locx,LiDar.locy) < 0.10f && fabsf(LiDar.yaw - Start_Points[index].angle) < 0.5f )
//        {
//            index ++;
//            cnt = 0;
//            if(index == 1)
//            {
//                Car_Stop;    /** 停车 **/
//                Slope_Pos = Slope_Left; /** 平台向左倾斜 **/
//                Left_TargetSpe = Left_Spe; /** 2006�?
// * �? **/
//                OpenSuction();
//                vTaskResume(Vision_TaskHandle);
//                osDelay(34);
//                /** 发一个信号给摄像�? **/
//                vision_cmd = 0x01;
//                HAL_UART_Transmit(&huart2,&vision_cmd, sizeof(vision_cmd),0xFFFFF);
//                /** 挂起自己 **/
//                vTaskSuspend(Start_TaskHandle);
//            }
//        }
//        else
//        {
//            Chassis_Move_OfVision(&Start_Points[index]);
//        }
//    osDelay(5);
//  }
//  /* USER CODE END StartTask */
}
